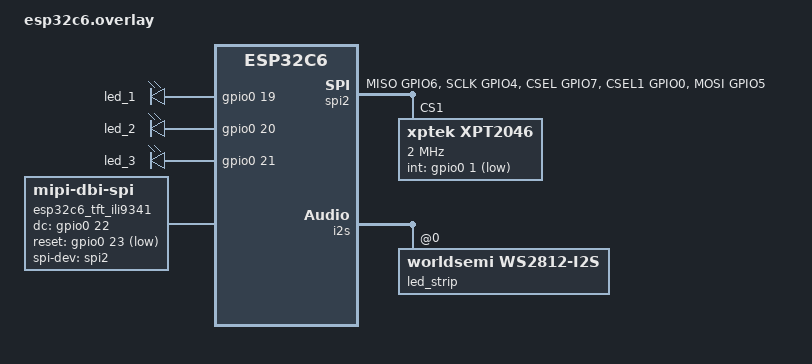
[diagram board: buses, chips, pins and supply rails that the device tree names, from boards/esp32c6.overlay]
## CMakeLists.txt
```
cmake_minimum_required(VERSION 3.20.0)

find_package(Zephyr REQUIRED HINTS $ENV{ZEPHYR_BASE})
project(esp32c6_lvgl)

target_sources(app PRIVATE src/main.c)

add_subdirectory(src/lvgl_gui)
add_subdirectory(src/led_strip)
```

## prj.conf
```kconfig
CONFIG_LV_Z_MEM_POOL_SIZE=16384
CONFIG_LV_Z_SHELL=y
CONFIG_LV_Z_VDB_SIZE=20
CONFIG_LV_Z_BITS_PER_PIXEL=18

CONFIG_MAIN_STACK_SIZE=16384

CONFIG_DISPLAY=y
CONFIG_DISPLAY_LOG_LEVEL_ERR=y

CONFIG_LOG=y
CONFIG_SHELL=y

CONFIG_LVGL=y
CONFIG_LV_USE_LOG=y
CONFIG_LV_USE_LABEL=y
CONFIG_LV_USE_ARC=y
CONFIG_LV_USE_MONKEY=y
CONFIG_LV_COLOR_DEPTH_32=y
CONFIG_LV_FONT_MONTSERRAT_28=y
CONFIG_LV_FONT_MONTSERRAT_30=y
CONFIG_LV_USE_KEYBOARD=y
CONFIG_LV_USE_TABVIEW=y
CONFIG_LV_USE_SLIDER=y

CONFIG_SPI=y
CONFIG_GPIO=y
CONFIG_MIPI_DBI=y
CONFIG_MIPI_DBI_SPI=y
CONFIG_ILI9341=y

CONFIG_INPUT=y
CONFIG_INPUT_XPT2046=y
CONFIG_LV_Z_POINTER_INPUT=y

CONFIG_LED_STRIP=y
CONFIG_LED_STRIP_LOG_LEVEL_DBG=y
```

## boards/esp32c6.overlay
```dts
#include <zephyr/dt-bindings/led/led.h>

/ {
    chosen {
        zephyr,display = &ili9341;
        zephyr,touch = &xpt2046;
        // led-strip = &led_strip;
    };

    aliases {
		led-strip = &led_strip;
        led1 = &led_1;
        led2 = &led_2;
        led3 = &led_3;
	};

    lvgl_pointer {
		compatible = "zephyr,lvgl-pointer-input";
		input = <&xpt2046>;
        // invert-x;
        invert-y;
	};

    leds {
        compatible = "gpio-leds";
        led_1: led_1 {
            gpios = <&gpio0 19 GPIO_ACTIVE_HIGH>;
        };
        led_2: led_2 {
            gpios = <&gpio0 20 GPIO_ACTIVE_HIGH>;
        };
        led_3: led_3 {
            gpios = <&gpio0 21 GPIO_ACTIVE_HIGH>;
        };
    };

    esp32c6_tft_ili9341: esp32c6_tft_ili9341 {
        compatible = "zephyr,mipi-dbi-spi";
        spi-dev = <&spi2>;             // changed
        status = "okay";
        dc-gpios = <&gpio0 22 GPIO_ACTIVE_HIGH>;
        reset-gpios = <&gpio0 23 GPIO_ACTIVE_LOW>;
        #address-cells = <1>;
        #size-cells = <0>;
        write-only;
        ili9341: ili9341@0 {
            compatible = "ilitek,ili9341";
            mipi-max-frequency = <10000000>;
            reg = <0>;
            width = <240>;
            height = <320>;
            rotation = <90>;
            pixel-format = <1>;
        };
    };
};

&spi2 {
	status = "okay";
	pinctrl-0 = <&spi2m_pins>;
	pinctrl-names = "default";
    xpt2046: xpt2046@1 {
        compatible = "xptek,xpt2046";
        status = "okay";
        reg = <1>;
        spi-max-frequency = <2000000>;
        int-gpios = <&gpio0 1 GPIO_ACTIVE_LOW>;
        touchscreen-size-x = <240>;
        touchscreen-size-y = <320>;
        min-x = <200>;
        min-y = <200>;
        max-x = <3900>;
        max-y = <3900>;
        z-threshold = <100>;
    };
};


&pinctrl {
    spi2m_pins: spi2m_pins {
        group1 {
			pinmux = <SPIM2_MISO_GPIO6>,
				 <SPIM2_SCLK_GPIO4>,
				 <SPIM2_CSEL_GPIO7>,
                 <SPIM2_CSEL1_GPIO0>;
		};

		group2 {
			pinmux = <SPIM2_MOSI_GPIO5>;
			output-low;
		};
    };
};

&i2s_default {
	group1 {
		pinmux = <I2S_O_SD_GPIO8>;
	};
};

&i2s {
	status = "okay";

	dmas = <&dma 3>;
	dma-names = "tx";

	led_strip: ws2812@0 {
		compatible = "worldsemi,ws2812-i2s";

		reg = <0>;
		chain-length = <1>;
		color-mapping = <LED_COLOR_ID_GREEN
				 LED_COLOR_ID_RED
				 LED_COLOR_ID_BLUE>;
		reset-delay = <500>;
	};
};

&dma {
	status = "okay";
};
```

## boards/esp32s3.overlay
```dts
/ {
    chosen {
        zephyr,display = &ili9341;
        zephyr,touch = &xpt2046;
    };

    lvgl_pointer {
		compatible = "zephyr,lvgl-pointer-input";
		input = <&xpt2046>;
        // invert-x;
        invert-y;
	};

    esp32c6_tft_ili9341: esp32c6_tft_ili9341 {
        compatible = "zephyr,mipi-dbi-spi";
        spi-dev = <&spi2>;             // changed
        status = "okay";
        dc-gpios = <&gpio0 6 GPIO_ACTIVE_HIGH>;
        reset-gpios = <&gpio0 5 GPIO_ACTIVE_LOW>;
        #address-cells = <1>;
        #size-cells = <0>;
        write-only;
        ili9341: ili9341@0 {
            compatible = "ilitek,ili9341";
            mipi-max-frequency = <10000000>;
            reg = <0>;
            width = <240>;
            height = <320>;
            rotation = <90>;
            pixel-format = <1>;
            // gamset = [ 01  ];
            // pgamctrl = [ 0F 29 24 0c 0e 09 4e 78 3c 09 13 05 17 11 00  ];
            // ngamctrl = [ 00 16 1b 04 11 07 31 33 42 05 0c 0a 28 2f 0f  ];
        };
    };
};

&spi2 {
	status = "okay";
	pinctrl-0 = <&spi2m_pins>;
	pinctrl-names = "default";
    // xpt2046: xpt2046@1 {
    //     compatible = "xptek,xpt2046";
    //     status = "okay";
    //     reg = <1>;
    //     spi-max-frequency = <2000000>;
    //     int-gpios = <&gpio0 15 (GPIO_PULL_UP | GPIO_ACTIVE_LOW)>;
    //     touchscreen-size-x = <240>;
    //     touchscreen-size-y = <320>;
    //     min-x = <200>;
    //     min-y = <200>;
    //     max-x = <3900>;
    //     max-y = <3900>;
    //     z-threshold = <100>;
    // };
};

&spi3 {
	status = "okay";
	pinctrl-0 = <&spi3m_pins>;
	pinctrl-names = "default";
    xpt2046: xpt2046@0 {
        compatible = "xptek,xpt2046";
        status = "okay";
        reg = <0>;
        spi-max-frequency = <2000000>;
        int-gpios = <&gpio0 1 GPIO_ACTIVE_LOW>;
        touchscreen-size-x = <240>;
        touchscreen-size-y = <320>;
        min-x = <200>;
        min-y = <200>;
        max-x = <3900>;
        max-y = <3900>;
        z-threshold = <100>;
    };
};

&pinctrl {
    spi2m_pins: spi2m_pins {
        group1 {
			pinmux = <SPIM2_MISO_GPIO16>,
				 <SPIM2_SCLK_GPIO15>,
				 <SPIM2_CSEL_GPIO4>;
		};

		group2 {
			pinmux = <SPIM2_MOSI_GPIO7>;
			output-low;
		};
    };
    spi3m_pins: spi3m_pins {
        group1 {
			pinmux = <SPIM3_MISO_GPIO2>,
				 <SPIM3_SCLK_GPIO40>,
				 <SPIM3_CSEL_GPIO41>;
		};

		group2 {
			pinmux = <SPIM3_MOSI_GPIO42>;
			output-low;
		};
    };
};
```

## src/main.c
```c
#include <stdlib.h>
#include <time.h>
#include <zephyr/kernel.h>
#include <zephyr/device.h>
#include <zephyr/drivers/display.h>
#include <zephyr/drivers/gpio.h>
#include <lvgl.h>
#include "ui.h"
#include "led_strip.h"

// void btn_event_cb(lv_event_t * e) {
//     lv_obj_t * btn = lv_event_get_target(e);
//     lv_obj_t * label = lv_obj_get_child(btn, 0);

//     lv_label_set_text(label, "Clicked!");
//     printk("Button pressed!\n");
// }

#define SERSOR_UPDATE_STACK_SIZE 1024
#define SERSOR_UPDATE_PRIORITY 5

static const struct gpio_dt_spec led1 = GPIO_DT_SPEC_GET(DT_ALIAS(led1), gpios);
static const struct gpio_dt_spec led2 = GPIO_DT_SPEC_GET(DT_ALIAS(led2), gpios);
static const struct gpio_dt_spec led3 = GPIO_DT_SPEC_GET(DT_ALIAS(led3), gpios);

K_THREAD_STACK_DEFINE(sensor_update_stack, SERSOR_UPDATE_STACK_SIZE);

static struct k_thread sensor_update_thread;

static void sensor_update_thread_fn(void *arg1, void *arg2, void *arg3)
{
    while (1)
    {
        // giả lập dữ liệu cảm biến
        int temperature = rand() % 40;
        int humidity = rand() % 100;   
        char temp_str[16];
        char hum_str[16];
        snprintf(temp_str, sizeof(temp_str), "%d C", temperature);
        snprintf(hum_str, sizeof(hum_str), "%d %%", humidity);
        lv_label_set_text(ui_temperature1, temp_str);
        lv_label_set_text(ui_humidity, hum_str);
        k_sleep(K_MSEC(1000));
    }
}

void ui_event_Button3(lv_event_t *e)
{
    lv_event_code_t code = lv_event_get_code(e);
    lv_obj_t *sw = lv_event_get_target(e);

    if (code == LV_EVENT_VALUE_CHANGED)
    {
        if (lv_obj_has_state(sw, LV_STATE_CHECKED))
        {
            printf("Switch ON\n");
            gpio_pin_set_dt(&led1, 1);
        }
        else
        {
            printf("Switch OFF\n");
            gpio_pin_set_dt(&led1, 0);
        }
    }
}

void ui_event_Button4(lv_event_t *e)
{
    lv_event_code_t code = lv_event_get_code(e);
    lv_obj_t *sw = lv_event_get_target(e);

    if (code == LV_EVENT_VALUE_CHANGED)
    {
        if (lv_obj_has_state(sw, LV_STATE_CHECKED))
        {
            printf("Switch ON\n");
            gpio_pin_set_dt(&led2, 1);
        }
        else
        {
            printf("Switch OFF\n");
            gpio_pin_set_dt(&led2, 0);
        }
    }
}

void ui_event_SliderChange(lv_event_t *e)
{
    lv_event_code_t code = lv_event_get_code(e);
    if (code == LV_EVENT_VALUE_CHANGED)
    {
        lv_obj_t *slider = lv_event_get_target(e);
        int value = lv_slider_get_value(slider);
        // slider điều khiển R, G, B
        static int r = 0, g = 0, b = 0;
        if (slider == ui_Slider3)
        {
            r = value;
        }
        else if (slider == ui_Slider1)
        {
            g = value;
        }
        else if (slider == ui_Slider2)
        {
            b = value;
        }
        led_strip_update(r, g, b);
    }
}

void main(void)
{
    k_tid_t sensor_update_tid;
    const struct device *display_dev = DEVICE_DT_GET(DT_CHOSEN(zephyr_display));
    if (!device_is_ready(display_dev))
    {
        printk("Display device not ready!\n");
        return;
    }
    if (!gpio_is_ready_dt(&led1) || !gpio_is_ready_dt(&led2) || !gpio_is_ready_dt(&led3))
    {
        printk("Led not ready!\n");
        return;
    }
    int ret;
    ret = gpio_pin_configure_dt(&led1, GPIO_OUTPUT_INACTIVE); // Or GPIO_OUTPUT_ACTIVE_LOW
    if (ret < 0)
    {
        printk("Led1 not configured!\n");
        return;
    }
    ret = gpio_pin_configure_dt(&led2, GPIO_OUTPUT_INACTIVE); // Or GPIO_OUTPUT_ACTIVE_LOW
    if (ret < 0)
    {
        printk("Led2 not configured!\n");
        return;
    }
    ret = gpio_pin_configure_dt(&led3, GPIO_OUTPUT_INACTIVE); // Or GPIO_OUTPUT_ACTIVE_LOW
    if (ret < 0)
    {
        printk("Led3 not configured!\n");
        return;
    }
    led_strip_init();

    ui_init(ui_event_Button3, ui_event_Button4, ui_event_SliderChange);

    sensor_update_tid = k_thread_create(&sensor_update_thread,
                                        sensor_update_stack,
                                        K_THREAD_STACK_SIZEOF(sensor_update_stack),
                                        sensor_update_thread_fn,
                                        NULL, NULL, NULL,
                                        SERSOR_UPDATE_PRIORITY, 0, K_NO_WAIT);

    // /* Show screen */
    lv_task_handler();
    display_blanking_off(display_dev);

    // /* Main loop */
    while (1)
    {
        lv_task_handler();
        k_sleep(K_MSEC(10));
    }
}
```
